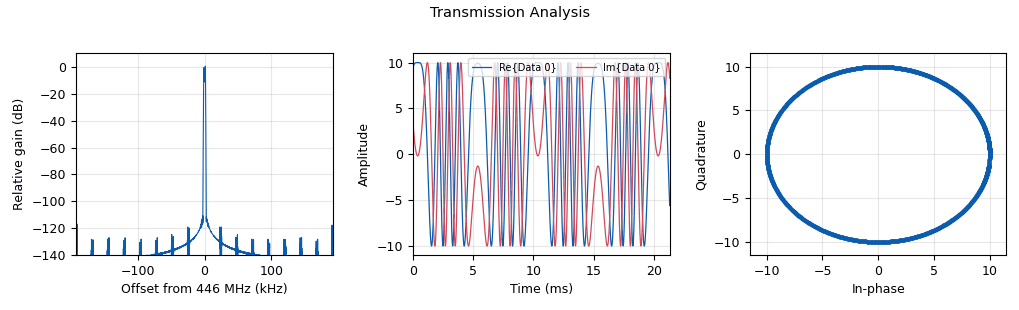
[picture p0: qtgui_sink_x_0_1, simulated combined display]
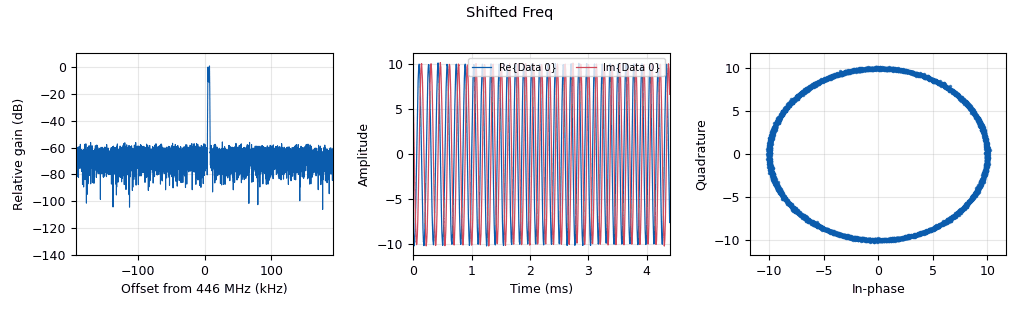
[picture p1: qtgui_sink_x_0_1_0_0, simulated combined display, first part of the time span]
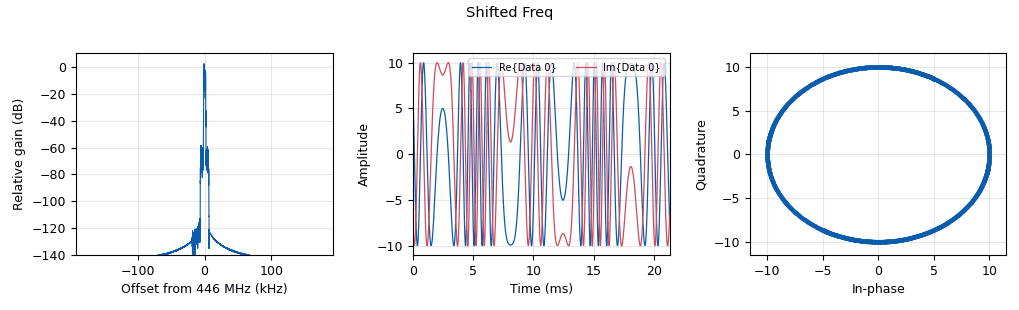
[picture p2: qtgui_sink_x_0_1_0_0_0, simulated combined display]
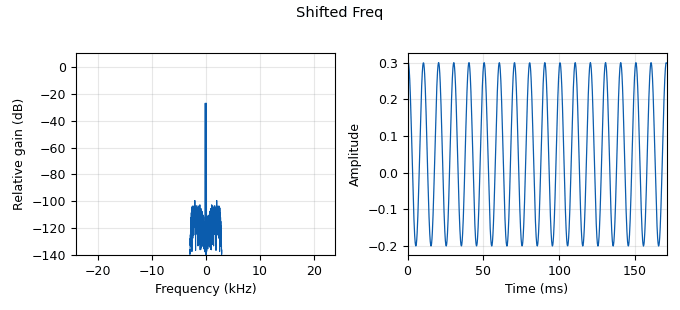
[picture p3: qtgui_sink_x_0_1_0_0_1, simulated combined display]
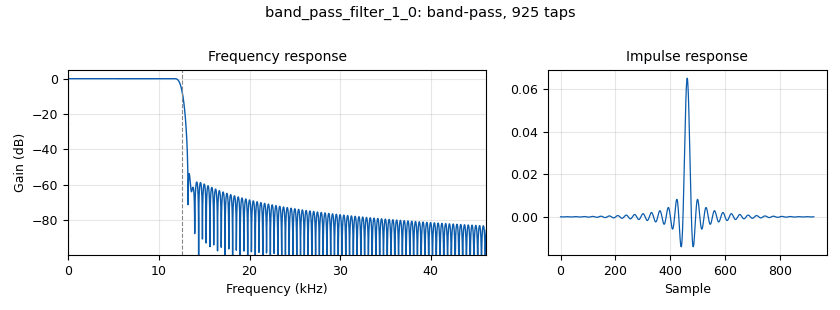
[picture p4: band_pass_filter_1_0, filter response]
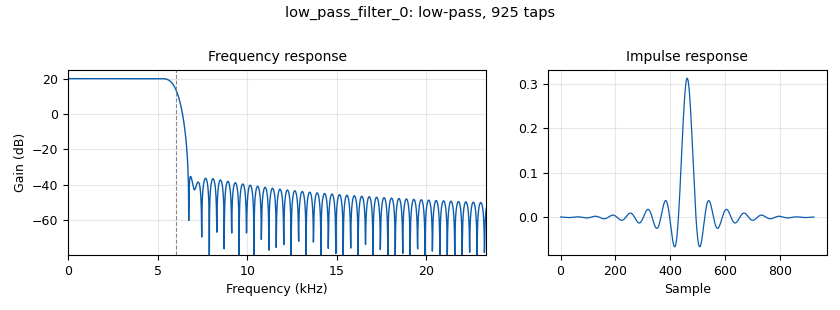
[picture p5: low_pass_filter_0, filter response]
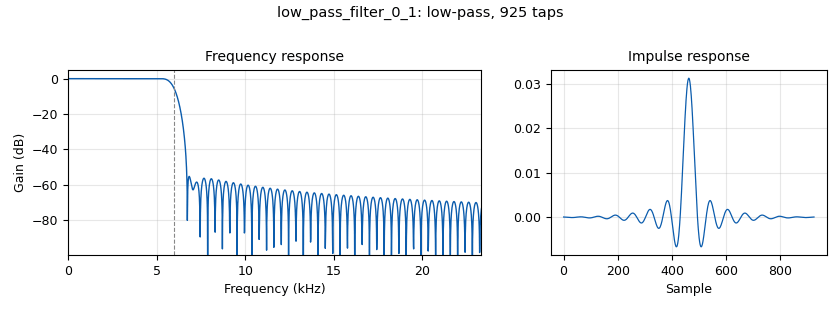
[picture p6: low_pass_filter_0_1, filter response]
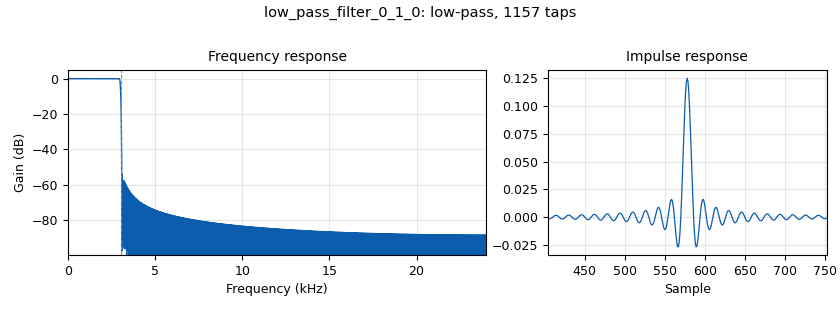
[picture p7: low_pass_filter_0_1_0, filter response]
options:
  parameters:
    generate_options: qt_gui
    id: untitled
    output_language: python
    realtime_scheduling: '1'
    title: Walkie Talkie
  states: {}

blocks:
- name: rf_gain
  id: variable_qtgui_range
  parameters:
    label: RF Gain
    outputmsgname: value
    showports: 'False'
    start: '0'
    step: '1'
    stop: '76'
    value: '40'
  states: {}
- name: samp_rate
  id: variable
  parameters:
    value: '384000'
  states: {}
- name: selected_channel
  id: variable_qtgui_chooser
  parameters:
    label: Channel
    labels: '["Channel 1", "Channel 2", "Channel 3", "Channel 4", "Channel 5", "Channel 6", "Channel 7", "Channel 8", ]'
    num_opts: '0'
    options: '[0,1, 2,3,4,5,6,7]'
    orient: Qt.QHBoxLayout
    type: int
    value: '0'
    widget: radio_buttons
  states: {}
- name: tuning
  id: variable
  parameters:
    value: '446000000'
  states: {}
- name: analog_ctcss_squelch_ff_0
  id: analog_ctcss_squelch_ff
  parameters:
    freq: '100'
    gate: 'False'
    len: '0'
    level: '0.01'
    ramp: '0'
    rate: '48000'
  states: {state: disabled}
- name: analog_nbfm_rx_0
  id: analog_nbfm_rx
  parameters:
    audio_rate: '48000'
    max_dev: 5e3
    quad_rate: '384000'
    tau: '75e-6'
  states: {}
- name: analog_nbfm_tx_0
  id: analog_nbfm_tx
  parameters:
    audio_rate: '24000'
    fh: '-1.0'
    max_dev: 5e3
    quad_rate: '384000'
    tau: '75e-6'
  states: {}
- name: analog_noise_source_x_0
  id: analog_noise_source_x
  parameters:
    amp: '0.1'
    noise_type: analog.GR_GAUSSIAN
    seed: '0'
    type: complex
  states: {}
- name: analog_sig_source_x_0
  id: analog_sig_source_x
  parameters:
    amp: '0.5'
    freq: '100'
    offset: '0'
    phase: '0'
    samp_rate: '24000'
    type: float
    waveform: analog.GR_SIN_WAVE
  states: {}
- name: analog_sig_source_x_0_0
  id: analog_sig_source_x
  parameters:
    amp: '0.2'
    freq: '67'
    offset: '0'
    phase: '0'
    samp_rate: '48000'
    type: float
    waveform: analog.GR_SIN_WAVE
  states: {state: disabled}
- name: analog_simple_squelch_cc_0
  id: analog_simple_squelch_cc
  parameters:
    alpha: '1'
    threshold: '-50'
  states: {}
- name: audio_sink_0
  id: audio_sink
  parameters:
    samp_rate: '48000'
  states: {}
- name: band_pass_filter_1_0
  id: band_pass_filter
  parameters:
    decim: '1'
    gain: '1'
    high_cutoff_freq: 1 + 12500*(selected_channel+1)
    low_cutoff_freq: 1 + 12500*selected_channel
    samp_rate: samp_rate
    type: fir_filter_ccf
    width: '1000'
    win: window.WIN_HAMMING
  states: {}
- name: blocks_add_xx_0
  id: blocks_add_xx
  parameters:
    type: complex
  states: {}
- name: blocks_freqshift_cc_1
  id: blocks_freqshift_cc
  parameters:
    freq: '-12500*selected_channel -6000'
    sample_rate: samp_rate
  states: {}
- name: blocks_freqshift_cc_1_0
  id: blocks_freqshift_cc
  parameters:
    freq: '+6250'
    sample_rate: samp_rate
  states: {}
- name: blocks_multiply_const_vxx_1
  id: blocks_multiply_const_vxx
  parameters:
    const: '0.5'
    type: float
  states: {}
- name: high_pass_filter_0
  id: high_pass_filter
  parameters:
    cutoff_freq: '300'
    decim: '1'
    gain: '1'
    samp_rate: '48000'
    type: fir_filter_fff
    width: '20'
    win: window.WIN_HAMMING
  states: {state: disabled}
- name: low_pass_filter_0
  id: low_pass_filter
  parameters:
    cutoff_freq: '6000'
    decim: '1'
    gain: '10'
    samp_rate: samp_rate
    type: fir_filter_ccf
    width: '1000'
    win: window.WIN_HAMMING
  states: {}
- name: low_pass_filter_0_1
  id: low_pass_filter
  parameters:
    cutoff_freq: '6000'
    decim: '1'
    gain: '1'
    samp_rate: samp_rate
    type: fir_filter_ccf
    width: '1000'
    win: window.WIN_HAMMING
  states: {}
- name: low_pass_filter_0_1_0
  id: low_pass_filter
  parameters:
    cutoff_freq: '3000'
    decim: '1'
    gain: '1'
    samp_rate: '48000'
    type: fir_filter_fff
    width: '100'
    win: window.WIN_HAMMING
  states: {}
- name: qtgui_sink_x_0_1
  id: qtgui_sink_x
  parameters:
    bw: samp_rate
    fc: tuning
    fftsize: '8192'
    name: '"Transmission Analysis"'
    rate: '100'
    showrf: 'True'
    type: complex
  states: {}
- name: qtgui_sink_x_0_1_0_0
  id: qtgui_sink_x
  parameters:
    bw: samp_rate
    fc: tuning
    fftsize: '8192'
    name: '"Shifted Freq"'
    rate: '100'
    showrf: 'True'
    type: complex
  states: {}
- name: qtgui_sink_x_0_1_0_0_0
  id: qtgui_sink_x
  parameters:
    bw: samp_rate
    fc: tuning
    fftsize: '8192'
    name: '"Shifted Freq"'
    rate: '100'
    showrf: 'True'
    type: complex
  states: {}
- name: qtgui_sink_x_0_1_0_0_1
  id: qtgui_sink_x
  parameters:
    bw: '48000'
    fc: '0'
    fftsize: '8192'
    name: '"Shifted Freq"'
    rate: '100'
    type: float
  states: {}

connections:
- [analog_ctcss_squelch_ff_0, '0', audio_sink_0, '0']
- [analog_ctcss_squelch_ff_0, '0', high_pass_filter_0, '0']
- [analog_ctcss_squelch_ff_0, '0', qtgui_sink_x_0_1_0_0_1, '0']
- [analog_nbfm_rx_0, '0', low_pass_filter_0_1_0, '0']
- [analog_nbfm_tx_0, '0', low_pass_filter_0, '0']
- [analog_noise_source_x_0, '0', blocks_add_xx_0, '0']
- [analog_sig_source_x_0, '0', blocks_multiply_const_vxx_1, '0']
- [analog_simple_squelch_cc_0, '0', analog_nbfm_rx_0, '0']
- [band_pass_filter_1_0, '0', blocks_freqshift_cc_1, '0']
- [blocks_add_xx_0, '0', blocks_freqshift_cc_1_0, '0']
- [blocks_freqshift_cc_1, '0', low_pass_filter_0_1, '0']
- [blocks_freqshift_cc_1_0, '0', band_pass_filter_1_0, '0']
- [blocks_freqshift_cc_1_0, '0', qtgui_sink_x_0_1_0_0, '0']
- [blocks_multiply_const_vxx_1, '0', analog_nbfm_tx_0, '0']
- [high_pass_filter_0, '0', audio_sink_0, '0']
- [high_pass_filter_0, '0', qtgui_sink_x_0_1_0_0_1, '0']
- [low_pass_filter_0, '0', blocks_add_xx_0, '1']
- [low_pass_filter_0, '0', qtgui_sink_x_0_1, '0']
- [low_pass_filter_0_1, '0', analog_simple_squelch_cc_0, '0']
- [low_pass_filter_0_1, '0', qtgui_sink_x_0_1_0_0_0, '0']
- [low_pass_filter_0_1_0, '0', analog_ctcss_squelch_ff_0, '0']
- [low_pass_filter_0_1_0, '0', audio_sink_0, '0']
- [low_pass_filter_0_1_0, '0', qtgui_sink_x_0_1_0_0_1, '0']

metadata:
  file_format: 1
  grc_version: 3.10.4.0
